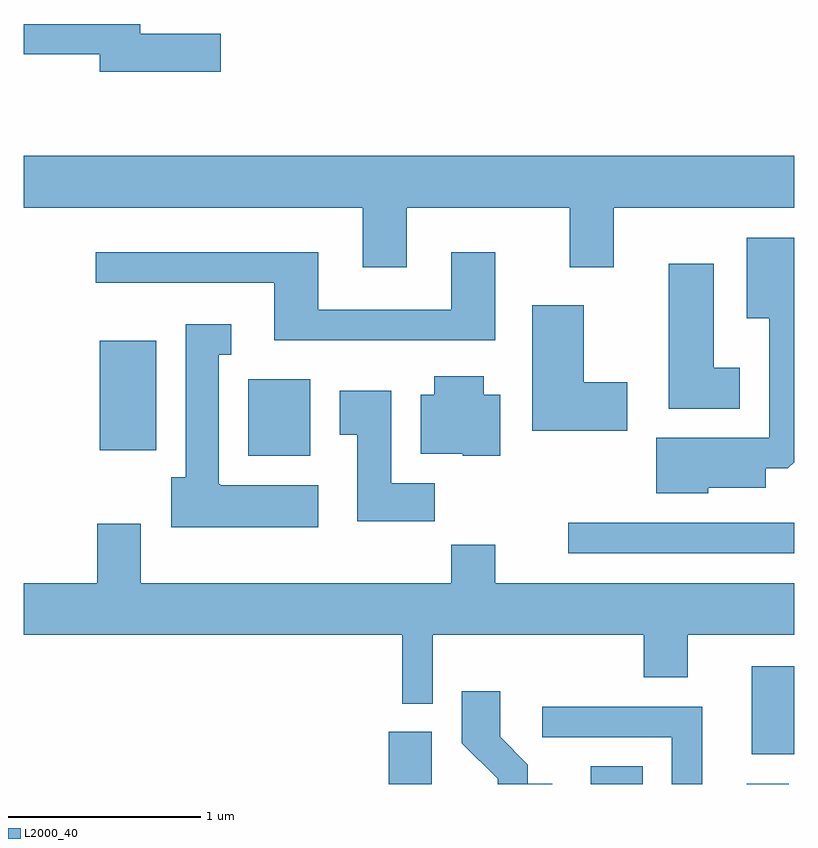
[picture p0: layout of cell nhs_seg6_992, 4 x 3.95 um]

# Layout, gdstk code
import gdstk
lib = gdstk.Library(unit=1e-6, precision=1e-09)
def R(c, l, rs):  # rectangles x0, y0, x1, y1
    for r in rs: c.add(gdstk.rectangle(r[:2], r[2:], *l))
def P(c, l, *ps):  # polygons
    for p in ps: c.add(gdstk.Polygon(p, *l))
L2000_40 = (2000, 40)

nhs_seg6_992 = lib.new_cell('nhs_seg6_992')
R(nhs_seg6_992, L2000_40, [(217.506,1538.162,217.729,1538.434), (218.556,1538.162,218.824,1538.254), (219.366,1538.162,219.584,1538.164), (219.391,1538.316,219.611,1538.774), (218.438,1539.361,219.611,1539.519), (216.776,1539.866,217.099,1540.264), (216.006,1539.896,216.299,1540.464)])
P(nhs_seg6_992, L2000_40, [(216.634,1542.059),(216.214,1542.059),(216.214,1542.109),(215.611,1542.109),(215.611,1541.951),(216.006,1541.951),(216.006,1541.861),(216.634,1541.861)],
  [(217.599,1541.156),(218.446,1541.156),(218.446,1540.846),(218.674,1540.846),(218.674,1541.156),(219.611,1541.156),(219.611,1541.424),(215.611,1541.424),(215.611,1541.156),(217.371,1541.156),(217.371,1540.846),(217.599,1540.846)],
  [(219.164,1539.701),(219.464,1539.701),(219.464,1539.801),(219.579,1539.801),(219.611,1539.833),(219.611,1540.999),(219.366,1540.999),(219.366,1540.581),(219.481,1540.581),(219.481,1539.959),(218.896,1539.959),(218.896,1539.671),(219.164,1539.671)],
  [(218.059,1540.924),(217.831,1540.924),(217.831,1540.624),(217.139,1540.624),(217.139,1540.924),(215.983,1540.924),(215.983,1540.766),(216.911,1540.766),(216.911,1540.466),(218.059,1540.466)],
  [(219.329,1540.324),(219.194,1540.324),(219.194,1540.864),(218.961,1540.864),(218.961,1540.111),(219.329,1540.111)],
  [(218.744,1540.249),(218.519,1540.249),(218.519,1540.649),(218.251,1540.649),(218.251,1539.996),(218.744,1539.996)],
  [(217.139,1539.714),(216.63,1539.714),(216.63,1539.72),(216.624,1539.72),(216.624,1540.391),(216.688,1540.391),(216.688,1540.549),(216.451,1540.549),(216.451,1539.754),(216.376,1539.754),(216.376,1539.496),(217.139,1539.496)],
  [(218.084,1540.184),(217.999,1540.184),(217.999,1540.279),(217.741,1540.279),(217.741,1540.184),(217.671,1540.184),(217.671,1539.876),(217.89,1539.876),(217.89,1539.866),(218.084,1539.866)],
  [(217.744,1539.724),(217.519,1539.724),(217.519,1540.204),(217.251,1540.204),(217.251,1539.976),(217.341,1539.976),(217.341,1539.526),(217.744,1539.526)],
  [(217.734,1538.936),(218.831,1538.936),(218.831,1538.716),(219.059,1538.716),(219.059,1538.936),(219.611,1538.936),(219.611,1539.204),(218.059,1539.204),(218.059,1539.404),(217.831,1539.404),(217.831,1539.204),(216.219,1539.204),(216.219,1539.514),(215.991,1539.514),(215.991,1539.204),(215.611,1539.204),(215.611,1538.936),(217.576,1538.936),(217.576,1538.578),(217.734,1538.578)],
  [(218.354,1538.164),(218.229,1538.164),(218.229,1538.262),(218.084,1538.407),(218.084,1538.644),(217.886,1538.644),(217.886,1538.374),(218.071,1538.189),(218.071,1538.162),(218.354,1538.162)],
  [(219.134,1538.564),(218.303,1538.564),(218.303,1538.406),(218.976,1538.406),(218.976,1538.162),(219.134,1538.162)])

lib.write_gds('nhs_seg6_992.gds')
